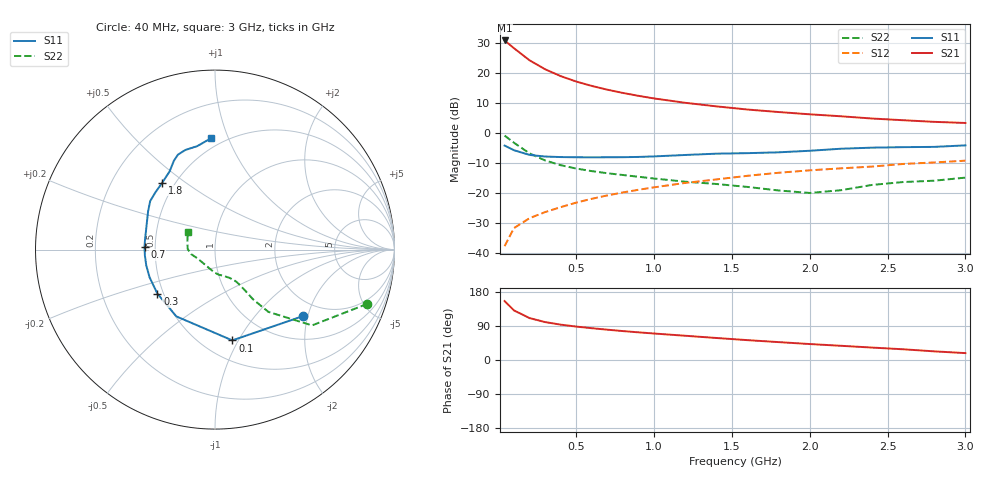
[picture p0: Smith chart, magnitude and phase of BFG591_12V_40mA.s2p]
! Filename:  BFG591D.S2P  Version:  4.0
! Philips part #: BFG591  Date: Jun 1994
! Bias condition: Vce=12V; Ic=40mA
#  MHz  S  MA  R  50
! Freq  S11  S21  S12  S22  !GUM [dB]
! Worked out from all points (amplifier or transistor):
!   21 points, 40 MHz to 3 GHz, reference 50 ohm
!   highest |S21| = 30.8 dB at 40 MHz (marker M1)
!   |S21| within 3 dB of that: start of sweep to 110.5 MHz
!   unconditionally stable (mu >= 1): 664.1 MHz to 2.188 GHz
!   at 300 MHz: K = 0.80, MSG = 23.8 dB, |S12| = -26.4 dB
!   at 1 GHz: K = 1.05, MAG = 13.4 dB, |S12| = -18.1 dB
!   at 3 GHz: K = 0.95, MSG = 6.3 dB, |S12| = -9.2 dB
!   S11 on the Smith chart (normalised r, x): 40 MHz: 1.57, -1.87; 100 MHz: 0.69, -0.94; 300 MHz: 0.46, -0.27; 700 MHz: 0.44, +0.01; 1.8 GHz: 0.43, +0.41; 3 GHz: 0.43, +0.87
40  0.615 -37.0  34.62 155.5  0.013 74.4  0.901 -19.6
100  0.515 -79.2  25.73 130.9  0.026 62.9  0.686 -38.0
200  0.43 -120.1  16.18 110.6  0.038 59.0  0.457 -49.4
300  0.404 -142.5  11.48 100.1  0.048 60.7  0.348 -52.6
400  0.396 -156.9  8.825 93.3  0.058 62.5  0.29 -53.5
500  0.393 -167.1  7.163 88.2  0.069 64.4  0.255 -54.4
600  0.392 -175.2  6.053 83.9  0.08 65.2  0.231 -55.4
700  0.393 177.9  5.241 80.0  0.091 65.9  0.213 -56.6
800  0.394 171.4  4.627 76.3  0.102 66.2  0.199 -58.3
900  0.398 165.2  4.142 73.0  0.113 66.4  0.186 -60.7
1000  0.406 159.6  3.748 69.9  0.124 66.3  0.174 -63.8
1200  0.429 150.4  3.171 64.0  0.147 65.3  0.154 -72.0
1400  0.451 143.2  2.767 58.1  0.168 63.7  0.141 -81.8
1600  0.46 136.4  2.45 52.4  0.193 62.8  0.126 -92.5
1800  0.475 128.2  2.226 47.2  0.217 59.9  0.11 -105.6
2000  0.504 120.1  2.04 42.1  0.238 58.3  0.1 -129.9
2200  0.545 114.9  1.892 37.5  0.257 56.2  0.111 -154.8
2400  0.568 111.3  1.736 32.8  0.275 55.3  0.136 -169.5
2600  0.579 106.6  1.626 28.3  0.304 51.8  0.152 178.8
2800  0.585 99.7  1.528 22.8  0.322 47.9  0.16 164.4
3000  0.62 92.2  1.463 18.2  0.345 46.5  0.18 147.2
